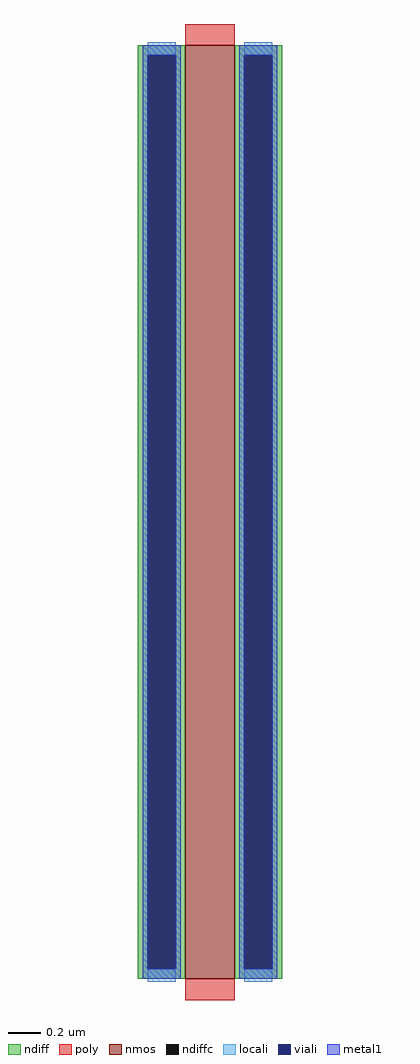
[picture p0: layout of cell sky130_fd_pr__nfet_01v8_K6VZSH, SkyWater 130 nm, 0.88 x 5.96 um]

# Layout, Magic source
magic
tech sky130A
<< nmos >>
rect -15 -285 15 285
<< ndiff >>
rect -44 279 -15 285
rect -44 -279 -38 279
rect -21 -279 -15 279
rect -44 -285 -15 -279
rect 15 279 44 285
rect 15 -279 21 279
rect 38 -279 44 279
rect 15 -285 44 -279
<< ndiffc >>
rect -38 -279 -21 279
rect 21 -279 38 279
<< poly >>
rect -15 285 15 298
rect -15 -298 15 -285
<< locali >>
rect -38 279 -21 287
rect -38 -287 -21 -279
rect 21 279 38 287
rect 21 -287 38 -279
<< viali >>
rect -38 -279 -21 279
rect 21 -279 38 279
<< metal1 >>
rect -41 279 -18 285
rect -41 -279 -38 279
rect -21 -279 -18 279
rect -41 -285 -18 -279
rect 18 279 41 285
rect 18 -279 21 279
rect 38 -279 41 279
rect 18 -285 41 -279
<< properties >>
string gencell sky130_fd_pr__nfet_01v8
string library sky130
string parameters w 5.7 l 0.3 m 1 nf 1 diffcov 100 polycov 100 guard 0 glc 1 grc 1 gtc 1 gbc 1 tbcov 100 rlcov 100 topc 0 botc 0 poverlap 0 doverlap 1 lmin 0.15 wmin 0.42 compatible {sky130_fd_pr__nfet_01v8 sky130_fd_pr__nfet_01v8_lvt  sky130_fd_bs_flash__special_sonosfet_star  sky130_fd_pr__nfet_g5v0d10v5 sky130_fd_pr__nfet_05v0_nvt  sky130_fd_pr__nfet_03v3_nvt} full_metal 1 viasrc 100 viadrn 100 viagate 100 viagb 0 viagr 0 viagl 0 viagt 0
<< end >>
